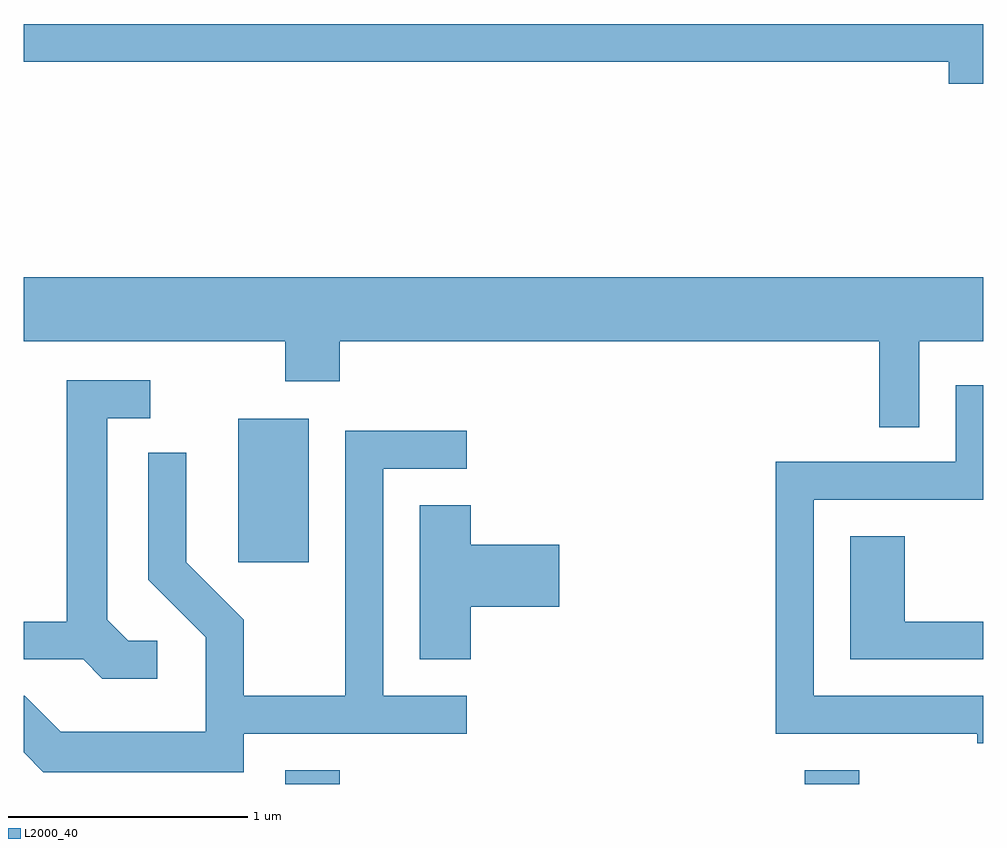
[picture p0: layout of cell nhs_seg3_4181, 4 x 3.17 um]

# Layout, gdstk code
import gdstk
lib = gdstk.Library(unit=1e-6, precision=1e-09)
def R(c, l, rs):  # rectangles x0, y0, x1, y1
    for r in rs: c.add(gdstk.rectangle(r[:2], r[2:], *l))
def P(c, l, *ps):  # polygons
    for p in ps: c.add(gdstk.Polygon(p, *l))
L2000_40 = (2000, 40)

nhs_seg3_4181 = lib.new_cell('nhs_seg3_4181')
R(nhs_seg3_4181, L2000_40, [(308.701,1181.892,308.929,1181.949), (310.866,1181.892,311.094,1181.949), (308.506,1182.816,308.799,1183.414)])
P(nhs_seg3_4181, L2000_40, [(311.611,1185.059),(307.611,1185.059),(307.611,1184.901),(311.466,1184.901),(311.466,1184.811),(311.611,1184.811)],
  [(311.344,1183.736),(311.611,1183.736),(311.611,1184.004),(307.611,1184.004),(307.611,1183.736),(308.701,1183.736),(308.701,1183.571),(308.929,1183.571),(308.929,1183.736),(311.176,1183.736),(311.176,1183.378),(311.344,1183.378)],
  [(308.168,1182.489),(308.047,1182.489),(307.959,1182.577),(307.959,1183.416),(308.138,1183.416),(308.138,1183.574),(307.791,1183.574),(307.791,1182.569),(307.611,1182.569),(307.611,1182.411),(307.859,1182.411),(307.939,1182.331),(308.168,1182.331)],
  [(311.611,1182.259),(310.904,1182.259),(310.904,1183.076),(311.611,1183.076),(311.611,1183.554),(311.496,1183.554),(311.496,1183.234),(310.746,1183.234),(310.746,1182.101),(311.586,1182.101),(311.586,1182.061),(311.611,1182.061)],
  [(308.529,1182.101),(309.458,1182.101),(309.458,1182.259),(309.109,1182.259),(309.109,1183.206),(309.458,1183.206),(309.458,1183.364),(308.951,1183.364),(308.951,1182.259),(308.529,1182.259),(308.529,1182.577),(308.289,1182.817),(308.289,1183.273),(308.131,1183.273),(308.131,1182.744),(308.371,1182.504),(308.371,1182.109),(307.767,1182.109),(307.617,1182.259),(307.611,1182.259),(307.611,1182.024),(307.694,1181.941),(308.529,1181.941)],
  [(309.474,1182.631),(309.844,1182.631),(309.844,1182.889),(309.474,1182.889),(309.474,1183.054),(309.261,1183.054),(309.261,1182.411),(309.474,1182.411)],
  [(311.611,1182.569),(311.284,1182.569),(311.284,1182.924),(311.056,1182.924),(311.056,1182.411),(311.611,1182.411)])

lib.write_gds('nhs_seg3_4181.gds')
